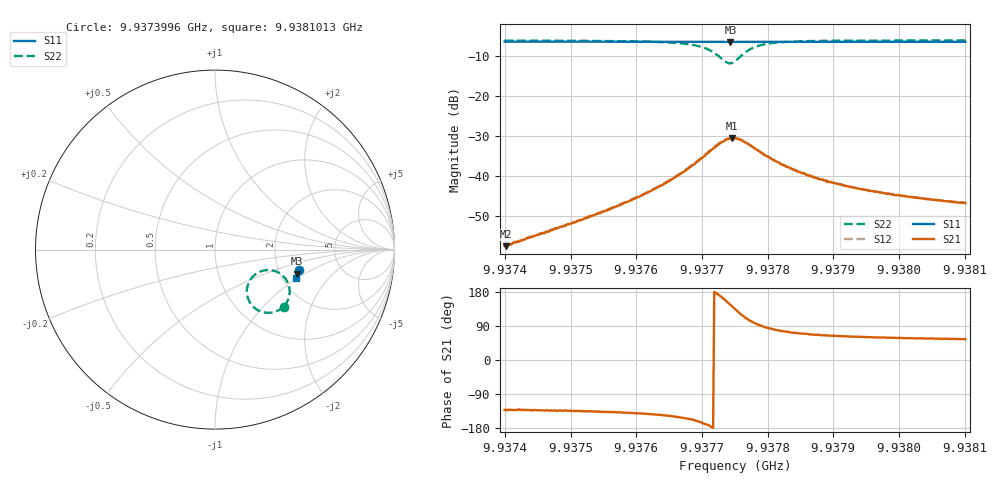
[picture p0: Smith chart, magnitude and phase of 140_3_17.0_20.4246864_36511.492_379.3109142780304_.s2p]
#  HZ  S  RI  R  50.00
! Rohde & Schwarz Vector Network Analyzer
! Rohde-Schwarz,ZNB20-2Port,1311601062101988,3.16
! Created: UTC 3/20/2024, 10:58:19 PM
! freq[Hz]  re:S11  im:S11  re:S21  im:S21  re:S12  im:S12  re:S22  im:S22
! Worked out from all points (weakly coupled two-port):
!   401 points, 9.9373996 GHz to 9.9381013 GHz, reference 50 ohm
!   highest |S21| = -30.47 dB at 9.9377452 GHz (marker M1); lowest = -57.5 dB at 9.9374014 GHz (marker M2)
!   lowest |S11| = -6.4 dB at 9.9377434 GHz (marker M3), VSWR 2.83, Z = 124 - j43.1 ohm
!   |S11| at or under -10 dB: nowhere
!   |S22| runs from -11.8 to -6.0 dB; largest |S21 - S12| = 0.0015
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9.93739962e9  0.4697 -0.1128  -0.000897 -0.001  -0.000895 -0.00102  0.3818 -0.3179
9.93740137e9  0.4698 -0.113  -0.000875 -0.00101  -0.000909 -0.00102  0.3817 -0.3181
9.93751715e9  0.467 -0.1209  -0.00203 -0.00199  -0.00215 -0.00199  0.3659 -0.3306
9.93758557e9  0.4654 -0.1254  -0.0036 -0.00311  -0.0037 -0.00311  0.3488 -0.3405
9.93763469e9  0.464 -0.129  -0.00605 -0.00429  -0.00621 -0.00426  0.3253 -0.3489
9.93767153e9  0.4629 -0.1316  -0.01 -0.00515  -0.0103 -0.00508  0.2898 -0.3522
9.93769082e9  0.4619 -0.1329  -0.0138 -0.00494  -0.0142 -0.00472  0.2584 -0.3457
9.93770486e9  0.4612 -0.1337  -0.0177 -0.0035  -0.0185 -0.00337  0.2269 -0.3298
9.93771714e9  0.4603 -0.1342  -0.0222 -0.000422  -0.0227 0.00011  0.1964 -0.2978
9.93772942e9  0.4595 -0.1345  -0.0257 0.00601  -0.0261 0.00708  0.1776 -0.2401
9.93773819e9  0.4591 -0.1341  -0.0259 0.0127  -0.026 0.0139  0.1867 -0.1866
9.93774345e9  0.4589 -0.1339  -0.0245 0.0166  -0.0241 0.0179  0.2052 -0.1567
9.9377452e9  0.4589 -0.134  -0.0239 0.018  -0.0234 0.0192  0.2137 -0.1475
9.93775047e9  0.4591 -0.1338  -0.0209 0.0212  -0.0203 0.0225  0.2426 -0.1269
9.93775924e9  0.4596 -0.1339  -0.0147 0.0244  -0.0139 0.0253  0.2958 -0.1142
9.93777152e9  0.4602 -0.1345  -0.00666 0.0242  -0.00591 0.0244  0.3561 -0.1299
9.93778906e9  0.4608 -0.136  -0.000381 0.0201  0.000254 0.0202  0.3988 -0.1718
9.9378259e9  0.4605 -0.1391  0.00342 0.0131  0.0039 0.013  0.4161 -0.2337
9.937868e9  0.4595 -0.1423  0.00381 0.00901  0.00393 0.00911  0.4111 -0.2674
9.93792238e9  0.4581 -0.1462  0.00349 0.00661  0.00364 0.00661  0.4027 -0.2892
9.93798554e9  0.4566 -0.1501  0.00311 0.00515  0.00325 0.00512  0.3947 -0.3035
9.93810132e9  0.4536 -0.158  0.00266 0.00378  0.00275 0.00383  0.3832 -0.3188
